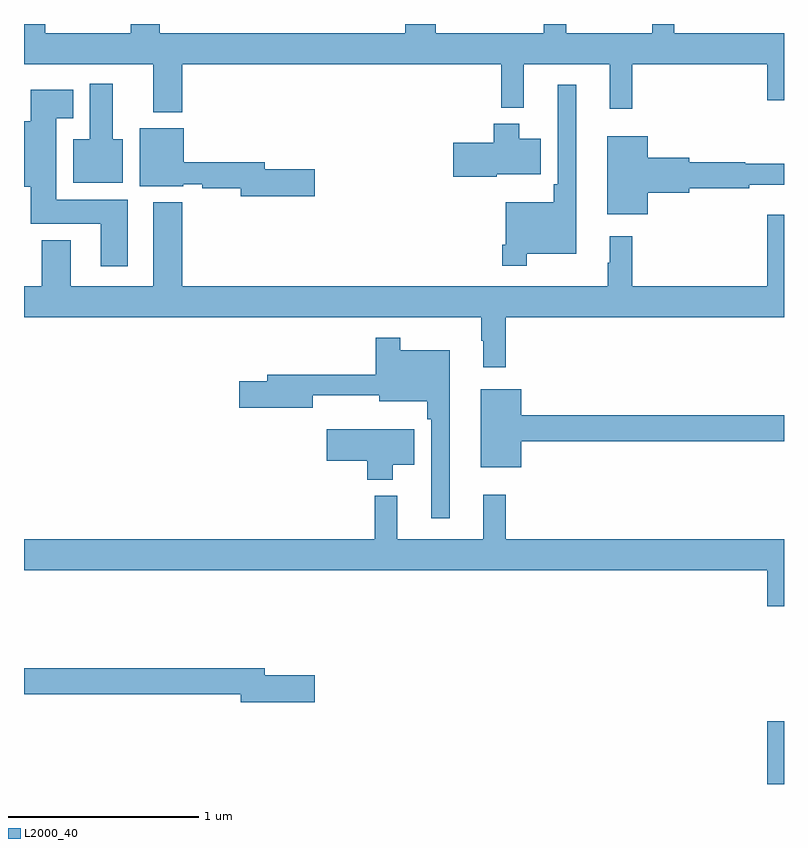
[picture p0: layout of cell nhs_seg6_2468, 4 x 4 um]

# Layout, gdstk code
import gdstk
lib = gdstk.Library(unit=1e-6, precision=1e-09)
def R(c, l, rs):  # rectangles x0, y0, x1, y1
    for r in rs: c.add(gdstk.rectangle(r[:2], r[2:], *l))
def P(c, l, *ps):  # polygons
    for p in ps: c.add(gdstk.Polygon(p, *l))
L2000_40 = (2000, 40)

nhs_seg6_2468 = lib.new_cell('nhs_seg6_2468')
R(nhs_seg6_2468, L2000_40, [(260.912,991.5,261,991.831)])
P(nhs_seg6_2468, L2000_40, [(257.834,995.288),(259.513,995.288),(259.513,995.06),(259.631,995.06),(259.631,995.288),(260.084,995.288),(260.084,995.055),(260.201,995.055),(260.201,995.288),(260.912,995.288),(260.912,995.1),(261,995.1),(261,995.452),(260.423,995.452),(260.423,995.5),(260.306,995.5),(260.306,995.452),(259.853,995.452),(259.853,995.5),(259.735,995.5),(259.735,995.452),(259.166,995.452),(259.166,995.5),(259.006,995.5),(259.006,995.452),(257.714,995.452),(257.714,995.5),(257.561,995.5),(257.561,995.452),(257.113,995.452),(257.113,995.5),(257,995.5),(257,995.288),(257.681,995.288),(257.681,995.036),(257.834,995.036)],
  [(257.521,994.894),(257.467,994.894),(257.467,995.185),(257.345,995.185),(257.345,994.894),(257.258,994.894),(257.258,994.664),(257.521,994.664)],
  [(259.645,994.292),(259.906,994.292),(259.906,995.179),(259.809,995.179),(259.809,994.657),(259.789,994.657),(259.789,994.561),(259.536,994.561),(259.536,994.339),(259.516,994.339),(259.516,994.227),(259.645,994.227)],
  [(257.545,994.576),(257.17,994.576),(257.17,995.003),(257.26,995.003),(257.26,995.155),(257.036,995.155),(257.036,994.987),(257,994.987),(257,994.643),(257.036,994.643),(257.036,994.448),(257.405,994.448),(257.405,994.224),(257.545,994.224)],
  [(259.488,994.709),(259.72,994.709),(259.72,994.897),(259.606,994.897),(259.606,994.975),(259.472,994.975),(259.472,994.875),(259.26,994.875),(259.26,994.697),(259.488,994.697)],
  [(258.529,994.736),(258.268,994.736),(258.268,994.772),(257.842,994.772),(257.842,994.951),(257.609,994.951),(257.609,994.646),(257.838,994.646),(257.838,994.656),(257.938,994.656),(257.938,994.636),(258.14,994.636),(258.14,994.594),(258.529,994.594)],
  [(260.284,994.613),(260.5,994.613),(260.5,994.636),(260.816,994.636),(260.816,994.655),(261,994.655),(261,994.765),(260.796,994.765),(260.796,994.772),(260.5,994.772),(260.5,994.796),(260.284,994.796),(260.284,994.909),(260.069,994.909),(260.069,994.499),(260.284,994.499)],
  [(259.535,993.956),(261,993.956),(261,994.495),(260.912,994.495),(260.912,994.12),(260.201,994.12),(260.201,994.384),(260.084,994.384),(260.084,994.244),(260.073,994.244),(260.073,994.12),(257.834,994.12),(257.834,994.561),(257.681,994.561),(257.681,994.12),(257.245,994.12),(257.245,994.363),(257.093,994.363),(257.093,994.12),(257,994.12),(257,993.956),(259.407,993.956),(259.407,993.833),(259.418,993.833),(259.418,993.693),(259.535,993.693)],
  [(259.24,993.784),(258.979,993.784),(258.979,993.85),(258.85,993.85),(258.85,993.655),(258.281,993.655),(258.281,993.621),(258.132,993.621),(258.132,993.479),(258.52,993.479),(258.52,993.545),(258.869,993.545),(258.869,993.515),(259.123,993.515),(259.123,993.419),(259.143,993.419),(259.143,992.898),(259.24,992.898)],
  [(259.618,993.304),(261,993.304),(261,993.44),(259.618,993.44),(259.618,993.577),(259.403,993.577),(259.403,993.167),(259.618,993.167)],
  [(258.94,993.179),(259.054,993.179),(259.054,993.367),(258.594,993.367),(258.594,993.202),(258.806,993.202),(258.806,993.101),(258.94,993.101)],
  [(261,992.788),(259.535,992.788),(259.535,993.022),(259.418,993.022),(259.418,992.788),(258.965,992.788),(258.965,993.016),(258.847,993.016),(258.847,992.788),(257,992.788),(257,992.624),(260.912,992.624),(260.912,992.436),(261,992.436)],
  [(258.529,992.072),(258.268,992.072),(258.268,992.108),(257,992.108),(257,991.972),(258.14,991.972),(258.14,991.93),(258.529,991.93)])

lib.write_gds('nhs_seg6_2468.gds')
